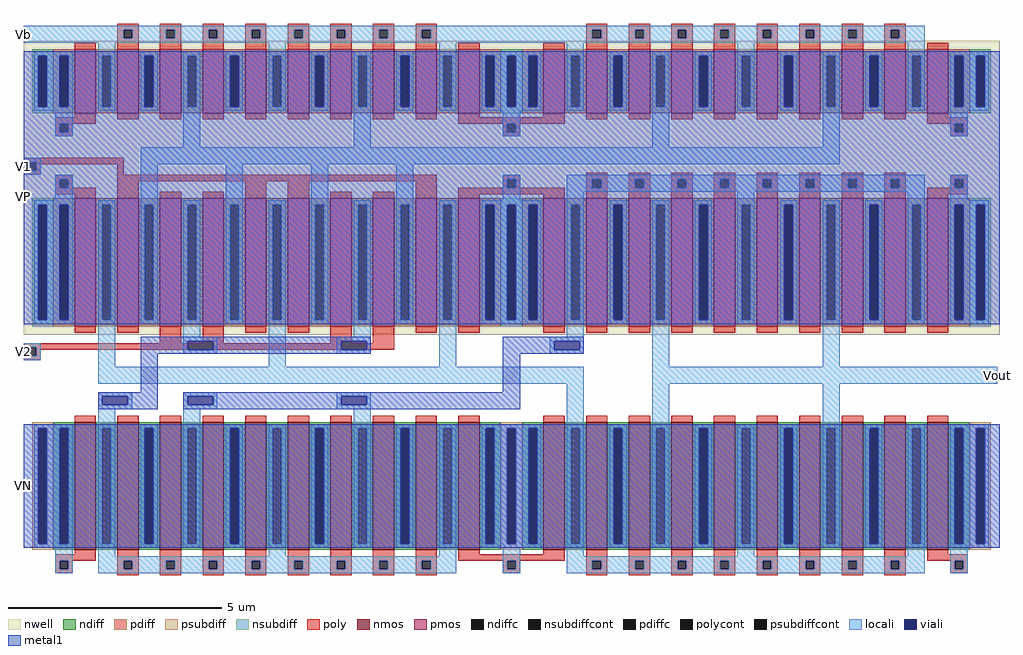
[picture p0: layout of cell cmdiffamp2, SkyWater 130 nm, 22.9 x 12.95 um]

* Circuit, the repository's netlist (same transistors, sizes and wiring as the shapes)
* SPICE3 file created from cmdiffamp2.ext - technology: sky130A


X0 Vout a_210_1430# VN VN sky130_fd_pr__nfet_01v8 ad=0.75 pd=3.5 as=0.75 ps=3.5 w=3 l=0.5
X1 Vb Vb VP VP sky130_fd_pr__pfet_01v8 ad=0.375 pd=2 as=0.375 ps=2 w=1.5 l=0.5
X2 a_410_1430# Vb VP VP sky130_fd_pr__pfet_01v8 ad=0.375 pd=2 as=0.375 ps=2 w=1.5 l=0.5
X3 a_610_380# a_610_380# VP VP sky130_fd_pr__pfet_01v8 ad=0.75 pd=3.5 as=0.75 ps=3.5 w=3 l=0.5
X4 VN a_210_380# a_210_380# VN sky130_fd_pr__nfet_01v8 ad=0.75 pd=3.5 as=0.75 ps=3.5 w=3 l=0.5
X5 Vb Vb VP VP sky130_fd_pr__pfet_01v8 ad=0.375 pd=2 as=0.375 ps=2 w=1.5 l=0.5
X6 Vout a_610_380# VP VP sky130_fd_pr__pfet_01v8 ad=0.75 pd=3.5 as=0.75 ps=3.5 w=3 l=0.5
X7 a_610_380# a_610_380# VP VP sky130_fd_pr__pfet_01v8 ad=0.75 pd=3.5 as=0.75 ps=3.5 w=3 l=0.5
X8 VP Vb Vb VP sky130_fd_pr__pfet_01v8 ad=0.375 pd=2 as=0.375 ps=2 w=1.5 l=0.5
X9 VN a_210_380# a_610_380# VN sky130_fd_pr__nfet_01v8 ad=0.75 pd=3.5 as=0.75 ps=3.5 w=3 l=0.5
X10 a_210_1430# a_210_1430# VN VN sky130_fd_pr__nfet_01v8 ad=0.75 pd=3.5 as=0.75 ps=3.5 w=3 l=0.5
X11 VP Vb Vb VP sky130_fd_pr__pfet_01v8 ad=0.375 pd=2 as=0.375 ps=2 w=1.5 l=0.5
X12 VP Vb a_410_1430# VP sky130_fd_pr__pfet_01v8 ad=0.375 pd=2 as=0.375 ps=2 w=1.5 l=0.5
X13 VP a_610_380# a_610_380# VP sky130_fd_pr__pfet_01v8 ad=0.75 pd=3.5 as=0.75 ps=3.5 w=3 l=0.5
X14 VP Vb a_410_1430# VP sky130_fd_pr__pfet_01v8 ad=0.375 pd=2 as=0.375 ps=2 w=1.5 l=0.5
X15 VP Vb Vb VP sky130_fd_pr__pfet_01v8 ad=0.375 pd=2 as=0.375 ps=2 w=1.5 l=0.5
X16 a_410_1430# V1 a_210_1430# VP sky130_fd_pr__pfet_01v8 ad=0.75 pd=3.5 as=0.75 ps=3.5 w=3 l=0.5
X17 VP a_610_380# Vout VP sky130_fd_pr__pfet_01v8 ad=0.75 pd=3.5 as=0.75 ps=3.5 w=3 l=0.5
X18 a_210_1430# VN VN VN sky130_fd_pr__nfet_01v8 ad=0.75 pd=3.5 as=1.5 ps=7 w=3 l=0.5
X19 VP Vb a_410_1430# VP sky130_fd_pr__pfet_01v8 ad=0.375 pd=2 as=0.375 ps=2 w=1.5 l=0.5
X20 a_410_1430# V2 a_210_380# VP sky130_fd_pr__pfet_01v8 ad=0.75 pd=3.5 as=0.75 ps=3.5 w=3 l=0.5
X21 a_410_1430# V1 a_210_1430# VP sky130_fd_pr__pfet_01v8 ad=0.75 pd=3.5 as=0.75 ps=3.5 w=3 l=0.5
X22 a_210_380# a_210_380# VN VN sky130_fd_pr__nfet_01v8 ad=0.75 pd=3.5 as=0.75 ps=3.5 w=3 l=0.5
X23 VP VP Vb VP sky130_fd_pr__pfet_01v8 ad=0.75 pd=4 as=0.375 ps=2 w=1.5 l=0.5
X24 a_410_1430# V2 a_210_380# VP sky130_fd_pr__pfet_01v8 ad=0.75 pd=3.5 as=0.75 ps=3.5 w=3 l=0.5
X25 VP VP a_210_1430# VP sky130_fd_pr__pfet_01v8 ad=1.5 pd=7 as=0.75 ps=3.5 w=3 l=0.5
X26 VN VN a_210_1430# VN sky130_fd_pr__nfet_01v8 ad=1.5 pd=7 as=0.75 ps=3.5 w=3 l=0.5
X27 VN a_210_380# a_210_380# VN sky130_fd_pr__nfet_01v8 ad=0.75 pd=3.5 as=0.75 ps=3.5 w=3 l=0.5
X28 Vout a_210_1430# VN VN sky130_fd_pr__nfet_01v8 ad=0.75 pd=3.5 as=0.75 ps=3.5 w=3 l=0.5
X29 VN a_210_1430# Vout VN sky130_fd_pr__nfet_01v8 ad=0.75 pd=3.5 as=0.75 ps=3.5 w=3 l=0.5
X30 a_610_380# a_210_380# VN VN sky130_fd_pr__nfet_01v8 ad=0.75 pd=3.5 as=0.75 ps=3.5 w=3 l=0.5
X31 VP Vb Vb VP sky130_fd_pr__pfet_01v8 ad=0.375 pd=2 as=0.375 ps=2 w=1.5 l=0.5
X32 VP Vb a_410_1430# VP sky130_fd_pr__pfet_01v8 ad=0.375 pd=2 as=0.375 ps=2 w=1.5 l=0.5
X33 a_210_380# a_210_380# VN VN sky130_fd_pr__nfet_01v8 ad=0.75 pd=3.5 as=0.75 ps=3.5 w=3 l=0.5
X34 a_210_1430# a_210_1430# VN VN sky130_fd_pr__nfet_01v8 ad=0.75 pd=3.5 as=0.75 ps=3.5 w=3 l=0.5
X35 VP a_610_380# a_610_380# VP sky130_fd_pr__pfet_01v8 ad=0.75 pd=3.5 as=0.75 ps=3.5 w=3 l=0.5
X36 VN a_210_1430# a_210_1430# VN sky130_fd_pr__nfet_01v8 ad=0.75 pd=3.5 as=0.75 ps=3.5 w=3 l=0.5
X37 Vb VP VP VP sky130_fd_pr__pfet_01v8 ad=0.375 pd=2 as=0.75 ps=4 w=1.5 l=0.5
X38 VP a_610_380# Vout VP sky130_fd_pr__pfet_01v8 ad=0.75 pd=3.5 as=0.75 ps=3.5 w=3 l=0.5
X39 a_410_1430# Vb VP VP sky130_fd_pr__pfet_01v8 ad=0.375 pd=2 as=0.375 ps=2 w=1.5 l=0.5
X40 VN VN a_210_380# VN sky130_fd_pr__nfet_01v8 ad=1.5 pd=7 as=0.75 ps=3.5 w=3 l=0.5
X41 Vb VP VP VP sky130_fd_pr__pfet_01v8 ad=0.375 pd=2 as=0.75 ps=4 w=1.5 l=0.5
X42 a_410_1430# Vb VP VP sky130_fd_pr__pfet_01v8 ad=0.375 pd=2 as=0.375 ps=2 w=1.5 l=0.5
X43 a_610_380# VP VP VP sky130_fd_pr__pfet_01v8 ad=0.75 pd=3.5 as=1.5 ps=7 w=3 l=0.5
X44 Vout a_610_380# VP VP sky130_fd_pr__pfet_01v8 ad=0.75 pd=3.5 as=0.75 ps=3.5 w=3 l=0.5
X45 Vb Vb VP VP sky130_fd_pr__pfet_01v8 ad=0.375 pd=2 as=0.375 ps=2 w=1.5 l=0.5
X46 a_410_1430# Vb VP VP sky130_fd_pr__pfet_01v8 ad=0.375 pd=2 as=0.375 ps=2 w=1.5 l=0.5
X47 a_210_1430# VP VP VP sky130_fd_pr__pfet_01v8 ad=0.75 pd=3.5 as=1.5 ps=7 w=3 l=0.5
X48 Vb Vb VP VP sky130_fd_pr__pfet_01v8 ad=0.375 pd=2 as=0.375 ps=2 w=1.5 l=0.5
X49 a_210_380# V2 a_410_1430# VP sky130_fd_pr__pfet_01v8 ad=0.75 pd=3.5 as=0.75 ps=3.5 w=3 l=0.5
X50 a_210_1430# V1 a_410_1430# VP sky130_fd_pr__pfet_01v8 ad=0.75 pd=3.5 as=0.75 ps=3.5 w=3 l=0.5
X51 a_210_380# V2 a_410_1430# VP sky130_fd_pr__pfet_01v8 ad=0.75 pd=3.5 as=0.75 ps=3.5 w=3 l=0.5
X52 a_610_380# a_210_380# VN VN sky130_fd_pr__nfet_01v8 ad=0.75 pd=3.5 as=0.75 ps=3.5 w=3 l=0.5
X53 a_210_1430# V1 a_410_1430# VP sky130_fd_pr__pfet_01v8 ad=0.75 pd=3.5 as=0.75 ps=3.5 w=3 l=0.5
X54 VN a_210_1430# Vout VN sky130_fd_pr__nfet_01v8 ad=0.75 pd=3.5 as=0.75 ps=3.5 w=3 l=0.5
X55 VN a_210_380# a_610_380# VN sky130_fd_pr__nfet_01v8 ad=0.75 pd=3.5 as=0.75 ps=3.5 w=3 l=0.5
X56 VP VP Vb VP sky130_fd_pr__pfet_01v8 ad=0.75 pd=4 as=0.375 ps=2 w=1.5 l=0.5
X57 VP VP a_610_380# VP sky130_fd_pr__pfet_01v8 ad=1.5 pd=7 as=0.75 ps=3.5 w=3 l=0.5
X58 a_210_380# VN VN VN sky130_fd_pr__nfet_01v8 ad=0.75 pd=3.5 as=1.5 ps=7 w=3 l=0.5
X59 VN a_210_1430# a_210_1430# VN sky130_fd_pr__nfet_01v8 ad=0.75 pd=3.5 as=0.75 ps=3.5 w=3 l=0.5
.ends

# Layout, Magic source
magic
tech sky130A
<< nwell >>
rect -65 695 2225 1385
<< nmos >>
rect 55 190 105 490
rect 155 190 205 490
rect 255 190 305 490
rect 355 190 405 490
rect 455 190 505 490
rect 555 190 605 490
rect 655 190 705 490
rect 755 190 805 490
rect 855 190 905 490
rect 955 190 1005 490
rect 1155 190 1205 490
rect 1255 190 1305 490
rect 1355 190 1405 490
rect 1455 190 1505 490
rect 1555 190 1605 490
rect 1655 190 1705 490
rect 1755 190 1805 490
rect 1855 190 1905 490
rect 1955 190 2005 490
rect 2055 190 2105 490
<< pmos >>
rect 55 1215 105 1365
rect 155 1215 205 1365
rect 255 1215 305 1365
rect 355 1215 405 1365
rect 455 1215 505 1365
rect 555 1215 605 1365
rect 655 1215 705 1365
rect 755 1215 805 1365
rect 855 1215 905 1365
rect 955 1215 1005 1365
rect 1155 1215 1205 1365
rect 1255 1215 1305 1365
rect 1355 1215 1405 1365
rect 1455 1215 1505 1365
rect 1555 1215 1605 1365
rect 1655 1215 1705 1365
rect 1755 1215 1805 1365
rect 1855 1215 1905 1365
rect 1955 1215 2005 1365
rect 2055 1215 2105 1365
rect 55 715 105 1015
rect 155 715 205 1015
rect 255 715 305 1015
rect 355 715 405 1015
rect 455 715 505 1015
rect 555 715 605 1015
rect 655 715 705 1015
rect 755 715 805 1015
rect 855 715 905 1015
rect 955 715 1005 1015
rect 1155 715 1205 1015
rect 1255 715 1305 1015
rect 1355 715 1405 1015
rect 1455 715 1505 1015
rect 1555 715 1605 1015
rect 1655 715 1705 1015
rect 1755 715 1805 1015
rect 1855 715 1905 1015
rect 1955 715 2005 1015
rect 2055 715 2105 1015
<< ndiff >>
rect 5 475 55 490
rect 5 205 20 475
rect 40 205 55 475
rect 5 190 55 205
rect 105 475 155 490
rect 105 205 120 475
rect 140 205 155 475
rect 105 190 155 205
rect 205 475 255 490
rect 205 205 220 475
rect 240 205 255 475
rect 205 190 255 205
rect 305 475 355 490
rect 305 205 320 475
rect 340 205 355 475
rect 305 190 355 205
rect 405 475 455 490
rect 405 205 420 475
rect 440 205 455 475
rect 405 190 455 205
rect 505 475 555 490
rect 505 205 520 475
rect 540 205 555 475
rect 505 190 555 205
rect 605 475 655 490
rect 605 205 620 475
rect 640 205 655 475
rect 605 190 655 205
rect 705 475 755 490
rect 705 205 720 475
rect 740 205 755 475
rect 705 190 755 205
rect 805 475 855 490
rect 805 205 820 475
rect 840 205 855 475
rect 805 190 855 205
rect 905 475 955 490
rect 905 205 920 475
rect 940 205 955 475
rect 905 190 955 205
rect 1005 475 1055 490
rect 1105 475 1155 490
rect 1005 205 1020 475
rect 1040 205 1055 475
rect 1105 205 1120 475
rect 1140 205 1155 475
rect 1005 190 1055 205
rect 1105 190 1155 205
rect 1205 475 1255 490
rect 1205 205 1220 475
rect 1240 205 1255 475
rect 1205 190 1255 205
rect 1305 475 1355 490
rect 1305 205 1320 475
rect 1340 205 1355 475
rect 1305 190 1355 205
rect 1405 475 1455 490
rect 1405 205 1420 475
rect 1440 205 1455 475
rect 1405 190 1455 205
rect 1505 475 1555 490
rect 1505 205 1520 475
rect 1540 205 1555 475
rect 1505 190 1555 205
rect 1605 475 1655 490
rect 1605 205 1620 475
rect 1640 205 1655 475
rect 1605 190 1655 205
rect 1705 475 1755 490
rect 1705 205 1720 475
rect 1740 205 1755 475
rect 1705 190 1755 205
rect 1805 475 1855 490
rect 1805 205 1820 475
rect 1840 205 1855 475
rect 1805 190 1855 205
rect 1905 475 1955 490
rect 1905 205 1920 475
rect 1940 205 1955 475
rect 1905 190 1955 205
rect 2005 475 2055 490
rect 2005 205 2020 475
rect 2040 205 2055 475
rect 2005 190 2055 205
rect 2105 475 2155 490
rect 2105 205 2120 475
rect 2140 205 2155 475
rect 2105 190 2155 205
<< pdiff >>
rect 5 1350 55 1365
rect 5 1230 20 1350
rect 40 1230 55 1350
rect 5 1215 55 1230
rect 105 1350 155 1365
rect 105 1230 120 1350
rect 140 1230 155 1350
rect 105 1215 155 1230
rect 205 1350 255 1365
rect 205 1230 220 1350
rect 240 1230 255 1350
rect 205 1215 255 1230
rect 305 1350 355 1365
rect 305 1230 320 1350
rect 340 1230 355 1350
rect 305 1215 355 1230
rect 405 1350 455 1365
rect 405 1230 420 1350
rect 440 1230 455 1350
rect 405 1215 455 1230
rect 505 1350 555 1365
rect 505 1230 520 1350
rect 540 1230 555 1350
rect 505 1215 555 1230
rect 605 1350 655 1365
rect 605 1230 620 1350
rect 640 1230 655 1350
rect 605 1215 655 1230
rect 705 1350 755 1365
rect 705 1230 720 1350
rect 740 1230 755 1350
rect 705 1215 755 1230
rect 805 1350 855 1365
rect 805 1230 820 1350
rect 840 1230 855 1350
rect 805 1215 855 1230
rect 905 1350 955 1365
rect 905 1230 920 1350
rect 940 1230 955 1350
rect 905 1215 955 1230
rect 1005 1350 1055 1365
rect 1105 1350 1155 1365
rect 1005 1230 1020 1350
rect 1040 1230 1055 1350
rect 1105 1230 1120 1350
rect 1140 1230 1155 1350
rect 1005 1215 1055 1230
rect 1105 1215 1155 1230
rect 1205 1350 1255 1365
rect 1205 1230 1220 1350
rect 1240 1230 1255 1350
rect 1205 1215 1255 1230
rect 1305 1350 1355 1365
rect 1305 1230 1320 1350
rect 1340 1230 1355 1350
rect 1305 1215 1355 1230
rect 1405 1350 1455 1365
rect 1405 1230 1420 1350
rect 1440 1230 1455 1350
rect 1405 1215 1455 1230
rect 1505 1350 1555 1365
rect 1505 1230 1520 1350
rect 1540 1230 1555 1350
rect 1505 1215 1555 1230
rect 1605 1350 1655 1365
rect 1605 1230 1620 1350
rect 1640 1230 1655 1350
rect 1605 1215 1655 1230
rect 1705 1350 1755 1365
rect 1705 1230 1720 1350
rect 1740 1230 1755 1350
rect 1705 1215 1755 1230
rect 1805 1350 1855 1365
rect 1805 1230 1820 1350
rect 1840 1230 1855 1350
rect 1805 1215 1855 1230
rect 1905 1350 1955 1365
rect 1905 1230 1920 1350
rect 1940 1230 1955 1350
rect 1905 1215 1955 1230
rect 2005 1350 2055 1365
rect 2005 1230 2020 1350
rect 2040 1230 2055 1350
rect 2005 1215 2055 1230
rect 2105 1350 2155 1365
rect 2105 1230 2120 1350
rect 2140 1230 2155 1350
rect 2105 1215 2155 1230
rect 5 1000 55 1015
rect 5 730 20 1000
rect 40 730 55 1000
rect 5 715 55 730
rect 105 1000 155 1015
rect 105 730 120 1000
rect 140 730 155 1000
rect 105 715 155 730
rect 205 1000 255 1015
rect 205 730 220 1000
rect 240 730 255 1000
rect 205 715 255 730
rect 305 1000 355 1015
rect 305 730 320 1000
rect 340 730 355 1000
rect 305 715 355 730
rect 405 1000 455 1015
rect 405 730 420 1000
rect 440 730 455 1000
rect 405 715 455 730
rect 505 1000 555 1015
rect 505 730 520 1000
rect 540 730 555 1000
rect 505 715 555 730
rect 605 1000 655 1015
rect 605 730 620 1000
rect 640 730 655 1000
rect 605 715 655 730
rect 705 1000 755 1015
rect 705 730 720 1000
rect 740 730 755 1000
rect 705 715 755 730
rect 805 1000 855 1015
rect 805 730 820 1000
rect 840 730 855 1000
rect 805 715 855 730
rect 905 1000 955 1015
rect 905 730 920 1000
rect 940 730 955 1000
rect 905 715 955 730
rect 1005 1000 1055 1015
rect 1105 1000 1155 1015
rect 1005 730 1020 1000
rect 1040 730 1055 1000
rect 1105 730 1120 1000
rect 1140 730 1155 1000
rect 1005 715 1055 730
rect 1105 715 1155 730
rect 1205 1000 1255 1015
rect 1205 730 1220 1000
rect 1240 730 1255 1000
rect 1205 715 1255 730
rect 1305 1000 1355 1015
rect 1305 730 1320 1000
rect 1340 730 1355 1000
rect 1305 715 1355 730
rect 1405 1000 1455 1015
rect 1405 730 1420 1000
rect 1440 730 1455 1000
rect 1405 715 1455 730
rect 1505 1000 1555 1015
rect 1505 730 1520 1000
rect 1540 730 1555 1000
rect 1505 715 1555 730
rect 1605 1000 1655 1015
rect 1605 730 1620 1000
rect 1640 730 1655 1000
rect 1605 715 1655 730
rect 1705 1000 1755 1015
rect 1705 730 1720 1000
rect 1740 730 1755 1000
rect 1705 715 1755 730
rect 1805 1000 1855 1015
rect 1805 730 1820 1000
rect 1840 730 1855 1000
rect 1805 715 1855 730
rect 1905 1000 1955 1015
rect 1905 730 1920 1000
rect 1940 730 1955 1000
rect 1905 715 1955 730
rect 2005 1000 2055 1015
rect 2005 730 2020 1000
rect 2040 730 2055 1000
rect 2005 715 2055 730
rect 2105 1000 2155 1015
rect 2105 730 2120 1000
rect 2140 730 2155 1000
rect 2105 715 2155 730
<< ndiffc >>
rect 20 205 40 475
rect 120 205 140 475
rect 220 205 240 475
rect 320 205 340 475
rect 420 205 440 475
rect 520 205 540 475
rect 620 205 640 475
rect 720 205 740 475
rect 820 205 840 475
rect 920 205 940 475
rect 1020 205 1040 475
rect 1120 205 1140 475
rect 1220 205 1240 475
rect 1320 205 1340 475
rect 1420 205 1440 475
rect 1520 205 1540 475
rect 1620 205 1640 475
rect 1720 205 1740 475
rect 1820 205 1840 475
rect 1920 205 1940 475
rect 2020 205 2040 475
rect 2120 205 2140 475
<< pdiffc >>
rect 20 1230 40 1350
rect 120 1230 140 1350
rect 220 1230 240 1350
rect 320 1230 340 1350
rect 420 1230 440 1350
rect 520 1230 540 1350
rect 620 1230 640 1350
rect 720 1230 740 1350
rect 820 1230 840 1350
rect 920 1230 940 1350
rect 1020 1230 1040 1350
rect 1120 1230 1140 1350
rect 1220 1230 1240 1350
rect 1320 1230 1340 1350
rect 1420 1230 1440 1350
rect 1520 1230 1540 1350
rect 1620 1230 1640 1350
rect 1720 1230 1740 1350
rect 1820 1230 1840 1350
rect 1920 1230 1940 1350
rect 2020 1230 2040 1350
rect 2120 1230 2140 1350
rect 20 730 40 1000
rect 120 730 140 1000
rect 220 730 240 1000
rect 320 730 340 1000
rect 420 730 440 1000
rect 520 730 540 1000
rect 620 730 640 1000
rect 720 730 740 1000
rect 820 730 840 1000
rect 920 730 940 1000
rect 1020 730 1040 1000
rect 1120 730 1140 1000
rect 1220 730 1240 1000
rect 1320 730 1340 1000
rect 1420 730 1440 1000
rect 1520 730 1540 1000
rect 1620 730 1640 1000
rect 1720 730 1740 1000
rect 1820 730 1840 1000
rect 1920 730 1940 1000
rect 2020 730 2040 1000
rect 2120 730 2140 1000
<< psubdiff >>
rect -45 475 5 490
rect -45 205 -30 475
rect -10 205 5 475
rect -45 190 5 205
rect 1055 475 1105 490
rect 1055 205 1070 475
rect 1090 205 1105 475
rect 1055 190 1105 205
rect 2155 475 2205 490
rect 2155 205 2170 475
rect 2190 205 2205 475
rect 2155 190 2205 205
<< nsubdiff >>
rect -45 1350 5 1365
rect -45 1230 -30 1350
rect -10 1230 5 1350
rect -45 1215 5 1230
rect 1055 1350 1105 1365
rect 1055 1230 1070 1350
rect 1090 1230 1105 1350
rect 1055 1215 1105 1230
rect 2155 1350 2205 1365
rect 2155 1230 2170 1350
rect 2190 1230 2205 1350
rect 2155 1215 2205 1230
rect -45 1000 5 1015
rect -45 730 -30 1000
rect -10 730 5 1000
rect -45 715 5 730
rect 1055 1000 1105 1015
rect 1055 730 1070 1000
rect 1090 730 1105 1000
rect 1055 715 1105 730
rect 2155 1000 2205 1015
rect 2155 730 2170 1000
rect 2190 730 2205 1000
rect 2155 715 2205 730
<< psubdiffcont >>
rect -30 205 -10 475
rect 1070 205 1090 475
rect 2170 205 2190 475
<< nsubdiffcont >>
rect -30 1230 -10 1350
rect 1070 1230 1090 1350
rect 2170 1230 2190 1350
rect -30 730 -10 1000
rect 1070 730 1090 1000
rect 2170 730 2190 1000
<< poly >>
rect 155 1410 205 1425
rect 155 1390 170 1410
rect 190 1390 205 1410
rect 55 1365 105 1380
rect 155 1365 205 1390
rect 255 1410 305 1425
rect 255 1390 270 1410
rect 290 1390 305 1410
rect 255 1365 305 1390
rect 355 1410 405 1425
rect 355 1390 370 1410
rect 390 1390 405 1410
rect 355 1365 405 1390
rect 455 1410 505 1425
rect 455 1390 470 1410
rect 490 1390 505 1410
rect 455 1365 505 1390
rect 555 1410 605 1425
rect 555 1390 570 1410
rect 590 1390 605 1410
rect 555 1365 605 1390
rect 655 1410 705 1425
rect 655 1390 670 1410
rect 690 1390 705 1410
rect 655 1365 705 1390
rect 755 1410 805 1425
rect 755 1390 770 1410
rect 790 1390 805 1410
rect 755 1365 805 1390
rect 855 1410 905 1425
rect 855 1390 870 1410
rect 890 1390 905 1410
rect 855 1365 905 1390
rect 1255 1410 1305 1425
rect 1255 1390 1270 1410
rect 1290 1390 1305 1410
rect 955 1365 1005 1380
rect 1155 1365 1205 1380
rect 1255 1365 1305 1390
rect 1355 1410 1405 1425
rect 1355 1390 1370 1410
rect 1390 1390 1405 1410
rect 1355 1365 1405 1390
rect 1455 1410 1505 1425
rect 1455 1390 1470 1410
rect 1490 1390 1505 1410
rect 1455 1365 1505 1390
rect 1555 1410 1605 1425
rect 1555 1390 1570 1410
rect 1590 1390 1605 1410
rect 1555 1365 1605 1390
rect 1655 1410 1705 1425
rect 1655 1390 1670 1410
rect 1690 1390 1705 1410
rect 1655 1365 1705 1390
rect 1755 1410 1805 1425
rect 1755 1390 1770 1410
rect 1790 1390 1805 1410
rect 1755 1365 1805 1390
rect 1855 1410 1905 1425
rect 1855 1390 1870 1410
rect 1890 1390 1905 1410
rect 1855 1365 1905 1390
rect 1955 1410 2005 1425
rect 1955 1390 1970 1410
rect 1990 1390 2005 1410
rect 1955 1365 2005 1390
rect 2055 1365 2105 1380
rect 55 1205 105 1215
rect 10 1190 105 1205
rect 155 1200 205 1215
rect 255 1200 305 1215
rect 355 1200 405 1215
rect 455 1200 505 1215
rect 555 1200 605 1215
rect 655 1200 705 1215
rect 755 1200 805 1215
rect 855 1200 905 1215
rect 955 1205 1005 1215
rect 1155 1205 1205 1215
rect 955 1190 1205 1205
rect 1255 1200 1305 1215
rect 1355 1200 1405 1215
rect 1455 1200 1505 1215
rect 1555 1200 1605 1215
rect 1655 1200 1705 1215
rect 1755 1200 1805 1215
rect 1855 1200 1905 1215
rect 1955 1200 2005 1215
rect 2055 1205 2105 1215
rect 2055 1190 2150 1205
rect 10 1170 20 1190
rect 40 1170 50 1190
rect 10 1160 50 1170
rect 1060 1170 1070 1190
rect 1090 1170 1100 1190
rect 1060 1160 1100 1170
rect 2110 1170 2120 1190
rect 2140 1170 2150 1190
rect 2110 1160 2150 1170
rect -65 1100 170 1110
rect -65 1080 -55 1100
rect -35 1095 170 1100
rect -35 1080 -25 1095
rect -65 1070 -25 1080
rect 155 1070 170 1095
rect 10 1060 50 1070
rect 10 1040 20 1060
rect 40 1040 50 1060
rect 155 1055 905 1070
rect 10 1025 105 1040
rect 55 1015 105 1025
rect 155 1015 205 1055
rect 255 1015 305 1030
rect 355 1015 405 1030
rect 455 1015 505 1055
rect 555 1015 605 1055
rect 655 1015 705 1030
rect 755 1015 805 1030
rect 855 1015 905 1055
rect 1060 1060 1100 1070
rect 1060 1040 1070 1060
rect 1090 1040 1100 1060
rect 1255 1060 1305 1075
rect 1255 1040 1270 1060
rect 1290 1040 1305 1060
rect 955 1025 1205 1040
rect 955 1015 1005 1025
rect 1155 1015 1205 1025
rect 1255 1015 1305 1040
rect 1355 1060 1405 1075
rect 1355 1040 1370 1060
rect 1390 1040 1405 1060
rect 1355 1015 1405 1040
rect 1455 1060 1505 1075
rect 1455 1040 1470 1060
rect 1490 1040 1505 1060
rect 1455 1015 1505 1040
rect 1555 1060 1605 1075
rect 1555 1040 1570 1060
rect 1590 1040 1605 1060
rect 1555 1015 1605 1040
rect 1655 1060 1705 1075
rect 1655 1040 1670 1060
rect 1690 1040 1705 1060
rect 1655 1015 1705 1040
rect 1755 1060 1805 1075
rect 1755 1040 1770 1060
rect 1790 1040 1805 1060
rect 1755 1015 1805 1040
rect 1855 1060 1905 1075
rect 1855 1040 1870 1060
rect 1890 1040 1905 1060
rect 1855 1015 1905 1040
rect 1955 1060 2005 1075
rect 1955 1040 1970 1060
rect 1990 1040 2005 1060
rect 2110 1060 2150 1070
rect 2110 1040 2120 1060
rect 2140 1040 2150 1060
rect 1955 1015 2005 1040
rect 2055 1025 2150 1040
rect 2055 1015 2105 1025
rect 55 700 105 715
rect 155 700 205 715
rect 255 675 305 715
rect 355 675 405 715
rect 455 700 505 715
rect 555 700 605 715
rect 655 675 705 715
rect 755 675 805 715
rect 855 700 905 715
rect 955 700 1005 715
rect 1155 700 1205 715
rect 1255 700 1305 715
rect 1355 700 1405 715
rect 1455 700 1505 715
rect 1555 700 1605 715
rect 1655 700 1705 715
rect 1755 700 1805 715
rect 1855 700 1905 715
rect 1955 700 2005 715
rect 2055 700 2105 715
rect -65 665 805 675
rect -65 645 -55 665
rect -35 660 805 665
rect -35 645 -25 660
rect -65 635 -25 645
rect 55 490 105 505
rect 155 490 205 505
rect 255 490 305 505
rect 355 490 405 505
rect 455 490 505 505
rect 555 490 605 505
rect 655 490 705 505
rect 755 490 805 505
rect 855 490 905 505
rect 955 490 1005 505
rect 1155 490 1205 505
rect 1255 490 1305 505
rect 1355 490 1405 505
rect 1455 490 1505 505
rect 1555 490 1605 505
rect 1655 490 1705 505
rect 1755 490 1805 505
rect 1855 490 1905 505
rect 1955 490 2005 505
rect 2055 490 2105 505
rect 55 180 105 190
rect 10 165 105 180
rect 155 165 205 190
rect 10 145 20 165
rect 40 145 50 165
rect 10 135 50 145
rect 155 145 170 165
rect 190 145 205 165
rect 155 130 205 145
rect 255 165 305 190
rect 255 145 270 165
rect 290 145 305 165
rect 255 130 305 145
rect 355 165 405 190
rect 355 145 370 165
rect 390 145 405 165
rect 355 130 405 145
rect 455 165 505 190
rect 455 145 470 165
rect 490 145 505 165
rect 455 130 505 145
rect 555 165 605 190
rect 555 145 570 165
rect 590 145 605 165
rect 555 130 605 145
rect 655 165 705 190
rect 655 145 670 165
rect 690 145 705 165
rect 655 130 705 145
rect 755 165 805 190
rect 755 145 770 165
rect 790 145 805 165
rect 755 130 805 145
rect 855 165 905 190
rect 955 180 1005 190
rect 1155 180 1205 190
rect 955 165 1205 180
rect 1255 165 1305 190
rect 855 145 870 165
rect 890 145 905 165
rect 855 130 905 145
rect 1060 145 1070 165
rect 1090 145 1100 165
rect 1060 135 1100 145
rect 1255 145 1270 165
rect 1290 145 1305 165
rect 1255 130 1305 145
rect 1355 165 1405 190
rect 1355 145 1370 165
rect 1390 145 1405 165
rect 1355 130 1405 145
rect 1455 165 1505 190
rect 1455 145 1470 165
rect 1490 145 1505 165
rect 1455 130 1505 145
rect 1555 165 1605 190
rect 1555 145 1570 165
rect 1590 145 1605 165
rect 1555 130 1605 145
rect 1655 165 1705 190
rect 1655 145 1670 165
rect 1690 145 1705 165
rect 1655 130 1705 145
rect 1755 165 1805 190
rect 1755 145 1770 165
rect 1790 145 1805 165
rect 1755 130 1805 145
rect 1855 165 1905 190
rect 1855 145 1870 165
rect 1890 145 1905 165
rect 1855 130 1905 145
rect 1955 165 2005 190
rect 2055 180 2105 190
rect 2055 165 2150 180
rect 1955 145 1970 165
rect 1990 145 2005 165
rect 1955 130 2005 145
rect 2110 145 2120 165
rect 2140 145 2150 165
rect 2110 135 2150 145
<< polycont >>
rect 170 1390 190 1410
rect 270 1390 290 1410
rect 370 1390 390 1410
rect 470 1390 490 1410
rect 570 1390 590 1410
rect 670 1390 690 1410
rect 770 1390 790 1410
rect 870 1390 890 1410
rect 1270 1390 1290 1410
rect 1370 1390 1390 1410
rect 1470 1390 1490 1410
rect 1570 1390 1590 1410
rect 1670 1390 1690 1410
rect 1770 1390 1790 1410
rect 1870 1390 1890 1410
rect 1970 1390 1990 1410
rect 20 1170 40 1190
rect 1070 1170 1090 1190
rect 2120 1170 2140 1190
rect -55 1080 -35 1100
rect 20 1040 40 1060
rect 1070 1040 1090 1060
rect 1270 1040 1290 1060
rect 1370 1040 1390 1060
rect 1470 1040 1490 1060
rect 1570 1040 1590 1060
rect 1670 1040 1690 1060
rect 1770 1040 1790 1060
rect 1870 1040 1890 1060
rect 1970 1040 1990 1060
rect 2120 1040 2140 1060
rect -55 645 -35 665
rect 20 145 40 165
rect 170 145 190 165
rect 270 145 290 165
rect 370 145 390 165
rect 470 145 490 165
rect 570 145 590 165
rect 670 145 690 165
rect 770 145 790 165
rect 870 145 890 165
rect 1070 145 1090 165
rect 1270 145 1290 165
rect 1370 145 1390 165
rect 1470 145 1490 165
rect 1570 145 1590 165
rect 1670 145 1690 165
rect 1770 145 1790 165
rect 1870 145 1890 165
rect 1970 145 1990 165
rect 2120 145 2140 165
<< locali >>
rect -65 1410 2050 1420
rect -65 1390 170 1410
rect 190 1390 270 1410
rect 290 1390 370 1410
rect 390 1390 470 1410
rect 490 1390 570 1410
rect 590 1390 670 1410
rect 690 1390 770 1410
rect 790 1390 870 1410
rect 890 1390 1270 1410
rect 1290 1390 1370 1410
rect 1390 1390 1470 1410
rect 1490 1390 1570 1410
rect 1590 1390 1670 1410
rect 1690 1390 1770 1410
rect 1790 1390 1870 1410
rect 1890 1390 1970 1410
rect 1990 1390 2050 1410
rect -65 1380 2050 1390
rect -40 1350 50 1360
rect -40 1230 -30 1350
rect -10 1230 20 1350
rect 40 1230 50 1350
rect -40 1220 50 1230
rect 110 1350 150 1380
rect 110 1230 120 1350
rect 140 1230 150 1350
rect 110 1220 150 1230
rect 210 1350 250 1360
rect 210 1230 220 1350
rect 240 1230 250 1350
rect 210 1220 250 1230
rect 310 1350 350 1360
rect 310 1230 320 1350
rect 340 1230 350 1350
rect 10 1190 50 1220
rect 10 1170 20 1190
rect 40 1170 50 1190
rect 10 1160 50 1170
rect 310 1135 350 1230
rect 410 1350 450 1360
rect 410 1230 420 1350
rect 440 1230 450 1350
rect 410 1220 450 1230
rect 510 1350 550 1380
rect 510 1230 520 1350
rect 540 1230 550 1350
rect 510 1220 550 1230
rect 610 1350 650 1360
rect 610 1230 620 1350
rect 640 1230 650 1350
rect 610 1220 650 1230
rect 710 1350 750 1360
rect 710 1230 720 1350
rect 740 1230 750 1350
rect 710 1135 750 1230
rect 810 1350 850 1360
rect 810 1230 820 1350
rect 840 1230 850 1350
rect 810 1220 850 1230
rect 910 1350 950 1380
rect 910 1230 920 1350
rect 940 1230 950 1350
rect 910 1220 950 1230
rect 1010 1350 1150 1360
rect 1010 1230 1020 1350
rect 1040 1230 1070 1350
rect 1090 1230 1120 1350
rect 1140 1230 1150 1350
rect 1010 1220 1150 1230
rect 1210 1350 1250 1380
rect 1210 1230 1220 1350
rect 1240 1230 1250 1350
rect 1210 1220 1250 1230
rect 1310 1350 1350 1360
rect 1310 1230 1320 1350
rect 1340 1230 1350 1350
rect 1310 1220 1350 1230
rect 1410 1350 1450 1360
rect 1410 1230 1420 1350
rect 1440 1230 1450 1350
rect 1060 1190 1100 1220
rect 1060 1170 1070 1190
rect 1090 1170 1100 1190
rect 1060 1160 1100 1170
rect 1410 1135 1450 1230
rect 1510 1350 1550 1360
rect 1510 1230 1520 1350
rect 1540 1230 1550 1350
rect 1510 1220 1550 1230
rect 1610 1350 1650 1380
rect 1610 1230 1620 1350
rect 1640 1230 1650 1350
rect 1610 1220 1650 1230
rect 1710 1350 1750 1360
rect 1710 1230 1720 1350
rect 1740 1230 1750 1350
rect 1710 1220 1750 1230
rect 1810 1350 1850 1360
rect 1810 1230 1820 1350
rect 1840 1230 1850 1350
rect 1810 1135 1850 1230
rect 1910 1350 1950 1360
rect 1910 1230 1920 1350
rect 1940 1230 1950 1350
rect 1910 1220 1950 1230
rect 2010 1350 2050 1380
rect 2010 1230 2020 1350
rect 2040 1230 2050 1350
rect 2010 1220 2050 1230
rect 2110 1350 2200 1360
rect 2110 1230 2120 1350
rect 2140 1230 2170 1350
rect 2190 1230 2200 1350
rect 2110 1220 2200 1230
rect 2110 1190 2150 1220
rect 2110 1170 2120 1190
rect 2140 1170 2150 1190
rect 2110 1160 2150 1170
rect -65 1100 -25 1110
rect -65 1080 -55 1100
rect -35 1080 -25 1100
rect -65 1070 -25 1080
rect 210 1095 1850 1135
rect 10 1060 50 1070
rect 10 1040 20 1060
rect 40 1040 50 1060
rect 10 1010 50 1040
rect -40 1000 50 1010
rect -40 730 -30 1000
rect -10 730 20 1000
rect 40 730 50 1000
rect -40 720 50 730
rect 110 1000 150 1010
rect 110 730 120 1000
rect 140 730 150 1000
rect -65 665 -25 675
rect -65 645 -55 665
rect -35 645 -25 665
rect -65 635 -25 645
rect 110 620 150 730
rect 210 1000 250 1095
rect 210 730 220 1000
rect 240 730 250 1000
rect 210 720 250 730
rect 310 1000 350 1010
rect 310 730 320 1000
rect 340 730 350 1000
rect 310 690 350 730
rect 410 1000 450 1095
rect 410 730 420 1000
rect 440 730 450 1000
rect 410 720 450 730
rect 510 1000 550 1010
rect 510 730 520 1000
rect 540 730 550 1000
rect 310 680 390 690
rect 310 660 320 680
rect 380 660 390 680
rect 310 650 390 660
rect 510 620 550 730
rect 610 1000 650 1095
rect 610 730 620 1000
rect 640 730 650 1000
rect 610 720 650 730
rect 710 1000 750 1010
rect 710 730 720 1000
rect 740 730 750 1000
rect 710 690 750 730
rect 810 1000 850 1095
rect 1060 1060 1100 1070
rect 1060 1040 1070 1060
rect 1090 1040 1100 1060
rect 1060 1010 1100 1040
rect 1210 1060 2050 1070
rect 1210 1040 1270 1060
rect 1290 1040 1370 1060
rect 1390 1040 1470 1060
rect 1490 1040 1570 1060
rect 1590 1040 1670 1060
rect 1690 1040 1770 1060
rect 1790 1040 1870 1060
rect 1890 1040 1970 1060
rect 1990 1040 2050 1060
rect 1210 1030 2050 1040
rect 810 730 820 1000
rect 840 730 850 1000
rect 810 720 850 730
rect 910 1000 950 1010
rect 910 730 920 1000
rect 940 730 950 1000
rect 670 680 750 690
rect 670 660 680 680
rect 740 660 750 680
rect 670 650 750 660
rect 910 620 950 730
rect 1010 1000 1150 1010
rect 1010 730 1020 1000
rect 1040 730 1070 1000
rect 1090 730 1120 1000
rect 1140 730 1150 1000
rect 1010 720 1150 730
rect 1210 1000 1250 1030
rect 1210 730 1220 1000
rect 1240 730 1250 1000
rect 1210 690 1250 730
rect 1310 1000 1350 1010
rect 1310 730 1320 1000
rect 1340 730 1350 1000
rect 1310 720 1350 730
rect 1410 1000 1450 1010
rect 1410 730 1420 1000
rect 1440 730 1450 1000
rect 1170 680 1250 690
rect 1170 660 1180 680
rect 1240 660 1250 680
rect 1170 650 1250 660
rect 1410 620 1450 730
rect 1510 1000 1550 1010
rect 1510 730 1520 1000
rect 1540 730 1550 1000
rect 1510 720 1550 730
rect 1610 1000 1650 1030
rect 1610 730 1620 1000
rect 1640 730 1650 1000
rect 1610 720 1650 730
rect 1710 1000 1750 1010
rect 1710 730 1720 1000
rect 1740 730 1750 1000
rect 1710 720 1750 730
rect 1810 1000 1850 1010
rect 1810 730 1820 1000
rect 1840 730 1850 1000
rect 1810 620 1850 730
rect 1910 1000 1950 1010
rect 1910 730 1920 1000
rect 1940 730 1950 1000
rect 1910 720 1950 730
rect 2010 1000 2050 1030
rect 2010 730 2020 1000
rect 2040 730 2050 1000
rect 2010 720 2050 730
rect 2110 1060 2150 1070
rect 2110 1040 2120 1060
rect 2140 1040 2150 1060
rect 2110 1010 2150 1040
rect 2110 1000 2200 1010
rect 2110 730 2120 1000
rect 2140 730 2170 1000
rect 2190 730 2200 1000
rect 2110 720 2200 730
rect 110 580 1250 620
rect 110 550 190 560
rect 110 530 120 550
rect 180 530 190 550
rect 110 520 190 530
rect 310 550 390 560
rect 310 530 320 550
rect 380 530 390 550
rect 310 520 390 530
rect 670 550 750 560
rect 670 530 680 550
rect 740 530 750 550
rect 670 520 750 530
rect -40 475 50 485
rect -40 205 -30 475
rect -10 205 20 475
rect 40 205 50 475
rect -40 195 50 205
rect 10 165 50 195
rect 10 145 20 165
rect 40 145 50 165
rect 10 135 50 145
rect 110 475 150 520
rect 110 205 120 475
rect 140 205 150 475
rect 110 175 150 205
rect 210 475 250 485
rect 210 205 220 475
rect 240 205 250 475
rect 210 195 250 205
rect 310 475 350 520
rect 310 205 320 475
rect 340 205 350 475
rect 310 195 350 205
rect 410 475 450 485
rect 410 205 420 475
rect 440 205 450 475
rect 410 195 450 205
rect 510 475 550 485
rect 510 205 520 475
rect 540 205 550 475
rect 510 175 550 205
rect 610 475 650 485
rect 610 205 620 475
rect 640 205 650 475
rect 610 195 650 205
rect 710 475 750 520
rect 710 205 720 475
rect 740 205 750 475
rect 710 195 750 205
rect 810 475 850 485
rect 810 205 820 475
rect 840 205 850 475
rect 810 195 850 205
rect 910 475 950 485
rect 910 205 920 475
rect 940 205 950 475
rect 910 175 950 205
rect 1010 475 1150 485
rect 1010 205 1020 475
rect 1040 205 1070 475
rect 1090 205 1120 475
rect 1140 205 1150 475
rect 1010 195 1150 205
rect 1210 475 1250 580
rect 1410 580 2220 620
rect 1210 205 1220 475
rect 1240 205 1250 475
rect 110 165 950 175
rect 110 145 170 165
rect 190 145 270 165
rect 290 145 370 165
rect 390 145 470 165
rect 490 145 570 165
rect 590 145 670 165
rect 690 145 770 165
rect 790 145 870 165
rect 890 145 950 165
rect 110 135 950 145
rect 1060 165 1100 195
rect 1060 145 1070 165
rect 1090 145 1100 165
rect 1060 135 1100 145
rect 1210 175 1250 205
rect 1310 475 1350 485
rect 1310 205 1320 475
rect 1340 205 1350 475
rect 1310 195 1350 205
rect 1410 475 1450 580
rect 1410 205 1420 475
rect 1440 205 1450 475
rect 1410 195 1450 205
rect 1510 475 1550 485
rect 1510 205 1520 475
rect 1540 205 1550 475
rect 1510 195 1550 205
rect 1610 475 1650 485
rect 1610 205 1620 475
rect 1640 205 1650 475
rect 1610 175 1650 205
rect 1710 475 1750 485
rect 1710 205 1720 475
rect 1740 205 1750 475
rect 1710 195 1750 205
rect 1810 475 1850 580
rect 1810 205 1820 475
rect 1840 205 1850 475
rect 1810 195 1850 205
rect 1910 475 1950 485
rect 1910 205 1920 475
rect 1940 205 1950 475
rect 1910 195 1950 205
rect 2010 475 2050 485
rect 2010 205 2020 475
rect 2040 205 2050 475
rect 2010 175 2050 205
rect 1210 165 2050 175
rect 1210 145 1270 165
rect 1290 145 1370 165
rect 1390 145 1470 165
rect 1490 145 1570 165
rect 1590 145 1670 165
rect 1690 145 1770 165
rect 1790 145 1870 165
rect 1890 145 1970 165
rect 1990 145 2050 165
rect 1210 135 2050 145
rect 2110 475 2200 485
rect 2110 205 2120 475
rect 2140 205 2170 475
rect 2190 205 2200 475
rect 2110 195 2200 205
rect 2110 165 2150 195
rect 2110 145 2120 165
rect 2140 145 2150 165
rect 2110 135 2150 145
<< viali >>
rect -30 1230 -10 1350
rect 20 1230 40 1350
rect 220 1230 240 1350
rect 420 1230 440 1350
rect 620 1230 640 1350
rect 820 1230 840 1350
rect 1020 1230 1040 1350
rect 1070 1230 1090 1350
rect 1120 1230 1140 1350
rect 1320 1230 1340 1350
rect 1520 1230 1540 1350
rect 1720 1230 1740 1350
rect 1920 1230 1940 1350
rect 2120 1230 2140 1350
rect 2170 1230 2190 1350
rect -30 730 -10 1000
rect 20 730 40 1000
rect 320 660 380 680
rect 680 660 740 680
rect 1020 730 1040 1000
rect 1070 730 1090 1000
rect 1120 730 1140 1000
rect 1320 730 1340 1000
rect 1180 660 1240 680
rect 1520 730 1540 1000
rect 1720 730 1740 1000
rect 1920 730 1940 1000
rect 2120 730 2140 1000
rect 2170 730 2190 1000
rect 120 530 180 550
rect 320 530 380 550
rect 680 530 740 550
rect -30 205 -10 475
rect 20 205 40 475
rect 220 205 240 475
rect 420 205 440 475
rect 620 205 640 475
rect 820 205 840 475
rect 1020 205 1040 475
rect 1070 205 1090 475
rect 1120 205 1140 475
rect 1320 205 1340 475
rect 1520 205 1540 475
rect 1720 205 1740 475
rect 1920 205 1940 475
rect 2120 205 2140 475
rect 2170 205 2190 475
<< metal1 >>
rect -65 1350 2225 1360
rect -65 1230 -30 1350
rect -10 1230 20 1350
rect 40 1230 220 1350
rect 240 1230 420 1350
rect 440 1230 620 1350
rect 640 1230 820 1350
rect 840 1230 1020 1350
rect 1040 1230 1070 1350
rect 1090 1230 1120 1350
rect 1140 1230 1320 1350
rect 1340 1230 1520 1350
rect 1540 1230 1720 1350
rect 1740 1230 1920 1350
rect 1940 1230 2120 1350
rect 2140 1230 2170 1350
rect 2190 1230 2225 1350
rect -65 1000 2225 1230
rect -65 730 -30 1000
rect -10 730 20 1000
rect 40 730 1020 1000
rect 1040 730 1070 1000
rect 1090 730 1120 1000
rect 1140 730 1320 1000
rect 1340 730 1520 1000
rect 1540 730 1720 1000
rect 1740 730 1920 1000
rect 1940 730 2120 1000
rect 2140 730 2170 1000
rect 2190 730 2225 1000
rect -65 720 2225 730
rect 210 680 750 690
rect 210 660 320 680
rect 380 660 680 680
rect 740 660 750 680
rect 210 650 750 660
rect 1060 680 1250 690
rect 1060 660 1180 680
rect 1240 660 1250 680
rect 1060 650 1250 660
rect 210 560 250 650
rect 1060 560 1100 650
rect 110 550 250 560
rect 110 530 120 550
rect 180 530 250 550
rect 110 520 250 530
rect 310 550 1100 560
rect 310 530 320 550
rect 380 530 680 550
rect 740 530 1100 550
rect 310 520 1100 530
rect -65 475 2225 485
rect -65 205 -30 475
rect -10 205 20 475
rect 40 205 220 475
rect 240 205 420 475
rect 440 205 620 475
rect 640 205 820 475
rect 840 205 1020 475
rect 1040 205 1070 475
rect 1090 205 1120 475
rect 1140 205 1320 475
rect 1340 205 1520 475
rect 1540 205 1720 475
rect 1740 205 1920 475
rect 1940 205 2120 475
rect 2140 205 2170 475
rect 2190 205 2225 475
rect -65 195 2225 205
<< labels >>
flabel locali 2220 600 2220 600 3 FreeSans 80 0 40 0 Vout
port 3 e
flabel locali -65 1400 -65 1400 7 FreeSans 80 0 -40 0 Vb
port 4 w
flabel locali -65 1090 -65 1090 7 FreeSans 80 0 -40 0 V1
port 1 w
flabel locali -65 655 -65 655 7 FreeSans 80 0 -40 0 V2
port 2 w
flabel metal1 -65 340 -65 340 7 FreeSans 80 0 -40 0 VN
port 6 w
flabel metal1 -65 1020 -65 1020 7 FreeSans 80 0 -80 0 VP
port 5 w
<< end >>
